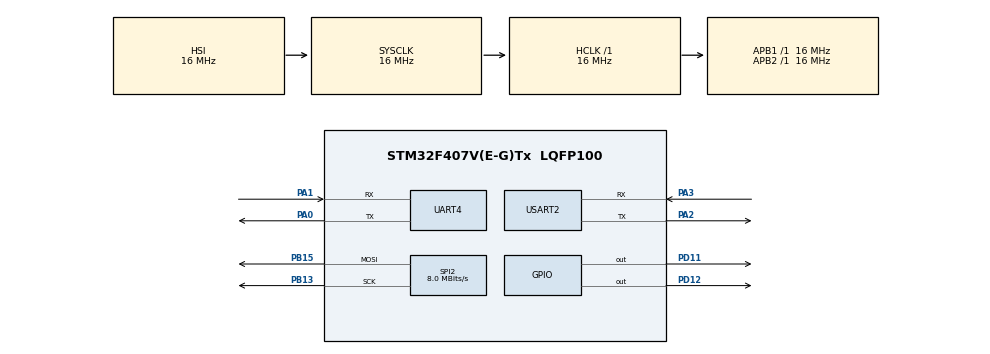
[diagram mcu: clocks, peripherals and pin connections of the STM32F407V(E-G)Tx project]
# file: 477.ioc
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Mcu.Family=STM32F4
Mcu.Name=STM32F407V(E-G)Tx
Mcu.Package=LQFP100
NVIC.PriorityGroup=NVIC_PRIORITYGROUP_4
NVIC.TIM2_IRQn=true\:0\:0\:false\:false\:true\:true
PA0-WKUP.Mode=Asynchronous
PA0-WKUP.Signal=UART4_TX
PA1.Mode=Asynchronous
PA1.Signal=UART4_RX
PA2.Mode=Asynchronous
PA2.Signal=USART2_TX
PA3.Mode=Asynchronous
PA3.Signal=USART2_RX
PB13.Mode=TX_Only_Simplex_Unidirect_Master
PB13.Signal=SPI2_SCK
PB15.Mode=TX_Only_Simplex_Unidirect_Master
PB15.Signal=SPI2_MOSI
PD11.Signal=GPIO_Output
PD12.Signal=GPIO_Output
ProjectManager.HeapSize=0x200
ProjectManager.StackSize=0x400
ProjectManager.TargetToolchain=SW4STM32
RCC.AHBFreq_Value=16000000
RCC.APB1Freq_Value=16000000
RCC.APB2Freq_Value=16000000
RCC.CortexFreq_Value=16000000
RCC.HSE_VALUE=25000000
RCC.HSI_VALUE=16000000
RCC.LSE_VALUE=32768
RCC.SYSCLKFreq_VALUE=16000000
RCC.VCOOutputFreq_Value=192000000
RTC.Date=27
RTC.Format=RTC_FORMAT_BIN
RTC.Hours=12
RTC.Minutes=10
RTC.Month=RTC_MONTH_FEBRUARY
RTC.Seconds=30
RTC.WeekDay=RTC_WEEKDAY_WEDNESDAY
RTC.Year=19
SPI2.CalculateBaudRate=8.0 MBits/s
SPI2.Direction=SPI_DIRECTION_2LINES
SPI2.Mode=SPI_MODE_MASTER
SPI2.VirtualType=VM_MASTER
TIM2.Period=1000
TIM2.Prescaler=16000
TIM2.TIM_MasterOutputTrigger=TIM_TRGO_UPDATE
UART4.VirtualMode=Asynchronous
USART2.VirtualMode=VM_ASYNC
VP_RTC_VS_RTC_Activate.Mode=RTC_Enabled
VP_RTC_VS_RTC_Calendar.Mode=RTC_Calendar
VP_TIM2_VS_ClockSourceINT.Mode=Internal
board=custom

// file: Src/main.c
/* USER CODE BEGIN Header */
/**
  ******************************************************************************
  * @file           : main.c
  * @brief          : Main program body
  ******************************************************************************
  ** This notice applies to any and all portions of this file
  * that are not between comment pairs USER CODE BEGIN and
  * USER CODE END. Other portions of this file, whether
  * inserted by the user or by software development tools
  * are owned by their respective copyright owners.
  *
  * COPYRIGHT(c) 2019 STMicroelectronics
  *
  * Redistribution and use in source and binary forms, with or without modification,
  * are permitted provided that the following conditions are met:
  *   1. Redistributions of source code must retain the above copyright notice,
  *      this list of conditions and the following disclaimer.
  *   2. Redistributions in binary form must reproduce the above copyright notice,
  *      this list of conditions and the following disclaimer in the documentation
  *      and/or other materials provided with the distribution.
  *   3. Neither the name of STMicroelectronics nor the names of its contributors
  *      may be used to endorse or promote products derived from this software
  *      without specific prior written permission.
  *
  * THIS SOFTWARE IS PROVIDED BY THE COPYRIGHT HOLDERS AND CONTRIBUTORS "AS IS"
  * AND ANY EXPRESS OR IMPLIED WARRANTIES, INCLUDING, BUT NOT LIMITED TO, THE
  * IMPLIED WARRANTIES OF MERCHANTABILITY AND FITNESS FOR A PARTICULAR PURPOSE ARE
  * DISCLAIMED. IN NO EVENT SHALL THE COPYRIGHT HOLDER OR CONTRIBUTORS BE LIABLE
  * FOR ANY DIRECT, INDIRECT, INCIDENTAL, SPECIAL, EXEMPLARY, OR CONSEQUENTIAL
  * DAMAGES (INCLUDING, BUT NOT LIMITED TO, PROCUREMENT OF SUBSTITUTE GOODS OR
  * SERVICES; LOSS OF USE, DATA, OR PROFITS; OR BUSINESS INTERRUPTION) HOWEVER
  * CAUSED AND ON ANY THEORY OF LIABILITY, WHETHER IN CONTRACT, STRICT LIABILITY,
  * OR TORT (INCLUDING NEGLIGENCE OR OTHERWISE) ARISING IN ANY WAY OUT OF THE USE
  * OF THIS SOFTWARE, EVEN IF ADVISED OF THE POSSIBILITY OF SUCH DAMAGE.
  *
  ******************************************************************************
  */
/* USER CODE END Header */

#include "main.h"

RTC_HandleTypeDef hrtc;
RTC_TimeTypeDef sTime;
RTC_DateTypeDef sDate;
SPI_HandleTypeDef hspi2;

TIM_HandleTypeDef htim2;
int tim_flag = 1;
UART_HandleTypeDef huart4;
UART_HandleTypeDef huart2;

/* USER CODE BEGIN PV */

char time_time[5] = "time\n";
int minutes_match = 4;//used to check real time
int hours_match = 15;
/* USER CODE END PV */

void SystemClock_Config(void);
static void MX_GPIO_Init(void);
static void MX_RTC_Init(void);
static void MX_UART4_Init(void);
static void MX_USART2_UART_Init(void);
static void MX_SPI2_Init(void);
static void MX_TIM2_Init(void);

int main(void)
{

  /* MCU Configuration--------------------------------------------------------*/

  /* Reset of all peripherals, Initializes the Flash interface and the Systick. */
  HAL_Init();

  /* Configure the system clock */
  SystemClock_Config();

  /* Initialize all configured peripherals */
  MX_GPIO_Init();
  MX_RTC_Init();
  MX_UART4_Init();
  MX_USART2_UART_Init();
  MX_SPI2_Init();
  MX_TIM2_Init();
  /* USER CODE BEGIN 2 */
  sDate.Date = 27;
  sDate.Month = RTC_MONTH_FEBRUARY;
  sDate.WeekDay = RTC_WEEKDAY_WEDNESDAY;
  sDate.Year = 19;
  HAL_RTC_SetDate(&hrtc, &sDate, RTC_FORMAT_BIN);
  char email_request_fill[14];
  email_request_fill[10] = 'f';
  email_request_fill[11] = '1';
  email_request_fill[12] = '2';
  email_request_fill[13] = '3';
  char* email_request_time[10] = {"0t123\n", "1t123\n", "2t123\n", "3t123\n", "4t123\n", "5t123\n", "6t123\n", "7t123\n", "8t123\n", "9t123\n"};
  ///////////////////////////////////////////////////email_boxindex_time_to_take-pill
  //char e0t[6] = "0t123\n", e1t[6] = "1t123\n", e2t[6] = "2t123\n", e3t[6] = "3t123\n", e4t[6] = "4t123\n",
//		  e5t[6] = "5t123\n", e6t[6] = "6t123\n", e7t[6] = "7t123\n", e8t[6] = "8t123\n", e9t[6] = "9t123\n";
  ///////////////////////////////////////////////////email_boxindex_need_update
  char update_request[7] = "update\n";
  char time_to_take_pill[30] = "time to take pill!\n";
  //int update_timer = 1;
  int * pill_num[10];
  int * hour[10];
  int * minute[10];

  //int buzzer = 0;

  /* USER CODE END 2 */

  /* Infinite loop */
  /* USER CODE BEGIN WHILE */
  HAL_TIM_Base_Start_IT(&htim2);
  char rxData[400];
  while (1)
    {
    /* USER CODE END WHILE */

    /* USER CODE BEGIN 3 */
	  /* set time */
	  HAL_UART_Transmit(&huart4, time_time, sizeof(time_time), 1000);
	  memset(rxData, 0, sizeof(rxData));
	  HAL_UART_Receive(&huart4, rxData, sizeof(rxData), 10000);
	  HAL_UART_Transmit(&huart2, rxData, sizeof(rxData), 1000);//mcu->tera
	  set_time(rxData);

	  /* send update request and parse dosage info*/
	  memset(rxData, 0, sizeof(rxData));
	  HAL_UART_Transmit(&huart4, update_request, 7, 1000);
	  HAL_UART_Receive(&huart4, rxData, sizeof(rxData), 12000);
	  HAL_UART_Transmit(&huart2, rxData, sizeof(rxData), 1000);//mcu->tera
	  char dosage_info[400];
	  strncpy(dosage_info, rxData+12, 400);
	  parse(&pill_num, &hour, &minute, dosage_info);

	  /* sensor check */
	  int * sensors = check_sensors();
	  for(int a = 0; a < 10; a++){//check sensor
		  if(sensors[a] == 1){//change to check multiple segments
			  email_request_fill[a] = a + '0';
		  }else{
			  email_request_fill[a] = 'n';
		  }
	  }
	  memset(rxData, 0, sizeof(rxData));
	  HAL_UART_Transmit(&huart4, email_request_fill, 20, 1000);
	  HAL_UART_Receive(&huart4, rxData, sizeof(rxData), 10000);

  	for(int a = 0; a < 10; a++){//loop through segments 0-9
  		for (int b = 0; b < 5; b++)
  		if((minute[a][b] == sTime.Minutes) && (hour[a][b] == sTime.Hours)){
  			HAL_UART_Transmit(&huart2, time_to_take_pill, sizeof(time_to_take_pill), 10000);

  			HAL_UART_Transmit(&huart2, email_request_time[a], 6, 10000);//mcu->esp
  			char tmp_buffer[4];
  			HAL_UART_Transmit(&huart2,tmp_buffer,sprintf(tmp_buffer,"p%d\n",pill_num[a][b]), 10000);
  		}
  	}

  	//memset(rxData, 0, sizeof(rxData));
  	HAL_Delay(5000);
    }
  /* USER CODE END 3 */
}

void SystemClock_Config(void)
{
  RCC_OscInitTypeDef RCC_OscInitStruct = {0};
  RCC_ClkInitTypeDef RCC_ClkInitStruct = {0};
  RCC_PeriphCLKInitTypeDef PeriphClkInitStruct = {0};

  /**Configure the main internal regulator output voltage
  */
  __HAL_RCC_PWR_CLK_ENABLE();
  __HAL_PWR_VOLTAGESCALING_CONFIG(PWR_REGULATOR_VOLTAGE_SCALE1);
  /**Initializes the CPU, AHB and APB busses clocks
  */
  RCC_OscInitStruct.OscillatorType = RCC_OSCILLATORTYPE_HSI|RCC_OSCILLATORTYPE_LSI;
  RCC_OscInitStruct.HSIState = RCC_HSI_ON;
  RCC_OscInitStruct.HSICalibrationValue = RCC_HSICALIBRATION_DEFAULT;
  RCC_OscInitStruct.LSIState = RCC_LSI_ON;
  RCC_OscInitStruct.PLL.PLLState = RCC_PLL_NONE;
  if (HAL_RCC_OscConfig(&RCC_OscInitStruct) != HAL_OK)
  {
    Error_Handler();
  }
  /**Initializes the CPU, AHB and APB busses clocks
  */
  RCC_ClkInitStruct.ClockType = RCC_CLOCKTYPE_HCLK|RCC_CLOCKTYPE_SYSCLK
                              |RCC_CLOCKTYPE_PCLK1|RCC_CLOCKTYPE_PCLK2;
  RCC_ClkInitStruct.SYSCLKSource = RCC_SYSCLKSOURCE_HSI;
  RCC_ClkInitStruct.AHBCLKDivider = RCC_SYSCLK_DIV1;
  RCC_ClkInitStruct.APB1CLKDivider = RCC_HCLK_DIV1;
  RCC_ClkInitStruct.APB2CLKDivider = RCC_HCLK_DIV1;

  if (HAL_RCC_ClockConfig(&RCC_ClkInitStruct, FLASH_LATENCY_0) != HAL_OK)
  {
    Error_Handler();
  }
  PeriphClkInitStruct.PeriphClockSelection = RCC_PERIPHCLK_RTC;
  PeriphClkInitStruct.RTCClockSelection = RCC_RTCCLKSOURCE_LSI;
  if (HAL_RCCEx_PeriphCLKConfig(&PeriphClkInitStruct) != HAL_OK)
  {
    Error_Handler();
  }
}

static void MX_RTC_Init(void)
{

  RTC_TimeTypeDef sTime = {0};
  RTC_DateTypeDef sDate = {0};

  /**Initialize RTC Only
  */
  hrtc.Instance = RTC;
  hrtc.Init.HourFormat = RTC_HOURFORMAT_24;
  hrtc.Init.AsynchPrediv = 127;
  hrtc.Init.SynchPrediv = 255;
  hrtc.Init.OutPut = RTC_OUTPUT_DISABLE;
  hrtc.Init.OutPutPolarity = RTC_OUTPUT_POLARITY_HIGH;
  hrtc.Init.OutPutType = RTC_OUTPUT_TYPE_OPENDRAIN;
  if (HAL_RTC_Init(&hrtc) != HAL_OK)
  {
    Error_Handler();
  }

  /**Initialize RTC and set the Time and Date
  */
  sTime.Hours = 12;
  sTime.Minutes = 10;
  sTime.Seconds = 30;
  sTime.DayLightSaving = RTC_DAYLIGHTSAVING_NONE;
  sTime.StoreOperation = RTC_STOREOPERATION_RESET;
  if (HAL_RTC_SetTime(&hrtc, &sTime, RTC_FORMAT_BIN) != HAL_OK)
  {
    Error_Handler();
  }
  sDate.WeekDay = RTC_WEEKDAY_WEDNESDAY;
  sDate.Month = RTC_MONTH_FEBRUARY;
  sDate.Date = 27;
  sDate.Year = 19;

  if (HAL_RTC_SetDate(&hrtc, &sDate, RTC_FORMAT_BIN) != HAL_OK)
  {
    Error_Handler();
  }

}

static void MX_SPI2_Init(void)
{

  /* SPI2 parameter configuration*/
  hspi2.Instance = SPI2;
  hspi2.Init.Mode = SPI_MODE_MASTER;
  hspi2.Init.Direction = SPI_DIRECTION_2LINES;
  hspi2.Init.DataSize = SPI_DATASIZE_8BIT;
  hspi2.Init.CLKPolarity = SPI_POLARITY_LOW;
  hspi2.Init.CLKPhase = SPI_PHASE_1EDGE;
  hspi2.Init.NSS = SPI_NSS_SOFT;
  hspi2.Init.BaudRatePrescaler = SPI_BAUDRATEPRESCALER_2;
  hspi2.Init.FirstBit = SPI_FIRSTBIT_MSB;
  hspi2.Init.TIMode = SPI_TIMODE_DISABLE;
  hspi2.Init.CRCCalculation = SPI_CRCCALCULATION_DISABLE;
  hspi2.Init.CRCPolynomial = 10;
  if (HAL_SPI_Init(&hspi2) != HAL_OK)
  {
    Error_Handler();
  }

}

static void MX_TIM2_Init(void)
{

  TIM_ClockConfigTypeDef sClockSourceConfig = {0};
  TIM_MasterConfigTypeDef sMasterConfig = {0};

  __TIM2_CLK_ENABLE();
  htim2.Instance = TIM2;
  htim2.Init.Prescaler = 16000;
  htim2.Init.CounterMode = TIM_COUNTERMODE_UP;
  htim2.Init.Period = 1000;
  htim2.Init.ClockDivision = TIM_CLOCKDIVISION_DIV1;
  if (HAL_TIM_Base_Init(&htim2) != HAL_OK)
  {
    Error_Handler();
  }
  sClockSourceConfig.ClockSource = TIM_CLOCKSOURCE_INTERNAL;
  if (HAL_TIM_ConfigClockSource(&htim2, &sClockSourceConfig) != HAL_OK)
  {
    Error_Handler();
  }
  sMasterConfig.MasterOutputTrigger = TIM_TRGO_UPDATE;
  sMasterConfig.MasterSlaveMode = TIM_MASTERSLAVEMODE_DISABLE;
  if (HAL_TIMEx_MasterConfigSynchronization(&htim2, &sMasterConfig) != HAL_OK)
  {
    Error_Handler();
  }
  /* USER CODE BEGIN TIM2_Init 2 */
  //htim2.Init.RepetitionCounter = 0;
  HAL_TIM_Base_Start(&htim2);
  /* USER CODE END TIM2_Init 2 */

}

static void MX_UART4_Init(void)
{

  huart4.Instance = UART4;
  huart4.Init.BaudRate = 115200;
  huart4.Init.WordLength = UART_WORDLENGTH_8B;
  huart4.Init.StopBits = UART_STOPBITS_1;
  huart4.Init.Parity = UART_PARITY_NONE;
  huart4.Init.Mode = UART_MODE_TX_RX;
  huart4.Init.HwFlowCtl = UART_HWCONTROL_NONE;
  huart4.Init.OverSampling = UART_OVERSAMPLING_16;
  if (HAL_UART_Init(&huart4) != HAL_OK)
  {
    Error_Handler();
  }

}

static void MX_USART2_UART_Init(void)
{

  huart2.Instance = USART2;
  huart2.Init.BaudRate = 115200;
  huart2.Init.WordLength = UART_WORDLENGTH_8B;
  huart2.Init.StopBits = UART_STOPBITS_1;
  huart2.Init.Parity = UART_PARITY_NONE;
  huart2.Init.Mode = UART_MODE_TX_RX;
  huart2.Init.HwFlowCtl = UART_HWCONTROL_NONE;
  huart2.Init.OverSampling = UART_OVERSAMPLING_16;
  if (HAL_UART_Init(&huart2) != HAL_OK)
  {
    Error_Handler();
  }

}

static void MX_GPIO_Init(void)
{
  GPIO_InitTypeDef GPIO_InitStruct = {0};

  /* GPIO Ports Clock Enable */
  __GPIOD_CLK_ENABLE();
  __HAL_RCC_GPIOA_CLK_ENABLE();
  __HAL_RCC_GPIOB_CLK_ENABLE();
  __HAL_RCC_GPIOD_CLK_ENABLE();

  /*Configure GPIO pin Output Level */
  HAL_GPIO_WritePin(GPIOD, GPIO_PIN_11|GPIO_PIN_12, GPIO_PIN_RESET);

  /*Configure GPIO pins : PD11 PD12 */
  GPIO_InitStruct.Pin = GPIO_PIN_11|GPIO_PIN_12;
  GPIO_InitStruct.Mode = GPIO_MODE_OUTPUT_PP;
  GPIO_InitStruct.Pull = GPIO_NOPULL;
  GPIO_InitStruct.Speed = GPIO_SPEED_HIGH;
  HAL_GPIO_Init(GPIOD, &GPIO_InitStruct);

}

/* USER CODE BEGIN 4 */
void HAL_TIM_PeriodElapsedCallback(TIM_HandleTypeDef *htim)
{
  UNUSED(htim);
  //HAL_GPIO_TogglePin(GPIOD, GPIO_PIN_12);
  ///////////////////////1    eb    2    4c  3    49    4   2b   5    59     6     18    7			8			9=256
  uint8_t dataOut[30] = {0x00,0x01,0xeb,0x00,0x02,0x4c,0x00,0x04,0x49,0x00,0x08,0x2b,0x00,0x10,0x59,0x00, 0x20, 0x18,0x00, 0x40, 0xcb,0x00, 0x80, 0x08, 0x01, 0x00, 0x0b, 0x02, 0x00, 0x1c}; //code for data output, second byte is for
  uint8_t led_index[10] = {0x01, 0x02, 0x04, 0x08, 0x10, 0x20, 0x40, 0x80, 0x100, 0x200};
  uint8_t truth_table[10] = {0x1c, 0xeb, 0x4c, 0x49, 0x3b, 0x59, 0x18, 0xcb, 0x08, 0x0b};

  if (tim_flag == 1) {
  	HAL_GPIO_WritePin(GPIOD, GPIO_PIN_11, GPIO_PIN_RESET);
  	HAL_SPI_Transmit(&hspi2,dataOut, 1, 100);
  	HAL_SPI_Transmit(&hspi2,dataOut + 1, 1, 100);
  	HAL_SPI_Transmit(&hspi2,dataOut + 2, 1, 100);
  	HAL_GPIO_WritePin(GPIOD, GPIO_PIN_11, GPIO_PIN_SET);
  	tim_flag = 2;
  }
  else if (tim_flag == 2) {

  	HAL_GPIO_WritePin(GPIOD, GPIO_PIN_11, GPIO_PIN_RESET);
  	HAL_SPI_Transmit(&hspi2,dataOut + 3, 1, 100);

  	HAL_SPI_Transmit(&hspi2,dataOut + 4, 1, 100);
  	HAL_SPI_Transmit(&hspi2,dataOut + 5, 1, 100);
  	HAL_GPIO_WritePin(GPIOD, GPIO_PIN_11, GPIO_PIN_SET);
  	tim_flag = 3;
  }
  else if (tim_flag == 3) {
	HAL_GPIO_WritePin(GPIOD, GPIO_PIN_11, GPIO_PIN_RESET);
	HAL_SPI_Transmit(&hspi2,dataOut + 6, 1, 100);
	HAL_SPI_Transmit(&hspi2,dataOut + 7, 1, 100);
	HAL_SPI_Transmit(&hspi2,dataOut + 8, 1, 100);
	HAL_GPIO_WritePin(GPIOD, GPIO_PIN_11, GPIO_PIN_SET);
	tim_flag = 1;
  }
  /*else if (tim_flag == 9) {
	HAL_GPIO_WritePin(GPIOD, GPIO_PIN_11, GPIO_PIN_RESET);
	HAL_SPI_Transmit(&hspi2,dataOut+24, 1, 100);
	HAL_SPI_Transmit(&hspi2,dataOut+25, 1, 100);
	HAL_SPI_Transmit(&hspi2,dataOut+26, 1, 100);
	HAL_GPIO_WritePin(GPIOD, GPIO_PIN_11, GPIO_PIN_SET);
	tim_flag = 1;
  }*/

}

int * check_sensors(){
    int sensor0 = 0, sensor1 = 0, sensor2 = 0, sensor3 = 0, sensor4 = 0, sensor5 = 0, sensor6 = 0, sensor7 = 0, sensor8 = 0, sensor9 = 0;//index for each sensor
	sensor0 = HAL_GPIO_ReadPin(GPIOD, GPIO_PIN_12);
	sensor1 = HAL_GPIO_ReadPin(GPIOD, GPIO_PIN_12);
	sensor2 = HAL_GPIO_ReadPin(GPIOD, GPIO_PIN_12);
	sensor3 = HAL_GPIO_ReadPin(GPIOD, GPIO_PIN_12);
	sensor4 = HAL_GPIO_ReadPin(GPIOD, GPIO_PIN_12);
	sensor5 = HAL_GPIO_ReadPin(GPIOD, GPIO_PIN_12);
	sensor6 = HAL_GPIO_ReadPin(GPIOD, GPIO_PIN_12);
	sensor7 = HAL_GPIO_ReadPin(GPIOD, GPIO_PIN_12);
	sensor8 = HAL_GPIO_ReadPin(GPIOD, GPIO_PIN_12);
	sensor9 = HAL_GPIO_ReadPin(GPIOD, GPIO_PIN_12);
	static int arr[10];
	arr[0] = sensor0; arr[1] = sensor1; arr[2] = sensor2; arr[3] = sensor3; arr[4] = sensor4;
	arr[5] = sensor5; arr[6] = sensor6; arr[7] = sensor7; arr[8] = sensor8; arr[9] = sensor9;
	return arr;
}

void set_time(char* rxData)
{
	char tmph[2]; char tmpm[2]; char tmps[2];
	strncpy(tmph, rxData+12,2);
	int update_hour = atoi(tmph);
	strncpy(tmpm, rxData+14,2);
	int update_minute = atoi(tmpm);
	strncpy(tmps, rxData+16,2);
	int update_second = atoi(tmps);
	char time_test[10] = "mcutime:";
	HAL_UART_Transmit(&huart2, time_test, sizeof(time_test), 100);//hour
	HAL_UART_Transmit(&huart2, tmph, sizeof(tmph), 100);//hour
	HAL_UART_Transmit(&huart2, tmpm, sizeof(tmpm), 100);//minute
	HAL_UART_Transmit(&huart2, tmps, sizeof(tmps), 100);//second
	sTime.Hours = update_hour;
	sTime.Minutes = update_minute;
	sTime.Seconds = update_second;
	HAL_RTC_SetTime(&hrtc, &sTime, RTC_FORMAT_BIN);
	HAL_RTC_GetTime(&hrtc, &sTime, RTC_FORMAT_BIN);
	HAL_RTC_GetDate(&hrtc, &sDate, RTC_FORMAT_BIN);
}

void parse(int ** pill_num, int ** hour, int ** minute, char * dosage_info)
{
    int i = 0, j = 0;
    for(i=0; i < 10; i++) {
        pill_num[i] = (int *)malloc(5 * sizeof(int));
        hour[i] = (int *)malloc(5 * sizeof(int));
        minute[i] = (int *)malloc(5 * sizeof(int));
    }

    //char * info2 = "p0t0830n2t1120n3t2045n2\n";
    //char * info = "p0t0830n2t1120n3t2045n2p1t0920n1t1230n1t2210n5p2t1015n6t2305n6\n";
    int start=0;//cursor c1
    int end=0;//cursor c2
    int seg_id=0;//index of the segment on pill box
    int ind = 0;//index indicates number of times to take pill
    //get dosage_info for each segment
    while (dosage_info[start]!='\n'){
        if(dosage_info[start]=='p') {
            end=start + 1;
            while(dosage_info[end] != '\n'){
                if(dosage_info[end] == 'p'){
                    break;
                }else{
                    end++;
                }
            }
            //printf("%d, %d\n",start,end);
            int length = end - start;
            char* tmpinfo = malloc(sizeof(char) * length);//information for one segment info
            strncpy(tmpinfo, dosage_info+start,end-start);
            //printf("%s\n",tmpinfo);
            int sub_cursor = 3;
            char boxid [1]; strncpy(boxid, tmpinfo+1,1);
            seg_id = atoi(boxid);
            ind=0;
            while(sub_cursor < length){//store dosage_information in stm32
                char* tmp_hour = malloc(sizeof(char)*2);
                char* tmp_min = malloc(sizeof(char)*2);
                char* tmp_num = malloc(sizeof(char)*1);
                strncpy(tmp_hour, tmpinfo + sub_cursor, 2);
                char tmp_buffer[10];

                sub_cursor += 2;
                hour[seg_id][ind] = atoi(tmp_hour);
                strncpy(tmp_min, tmpinfo + sub_cursor, 2);
                sub_cursor += 3;
                minute[seg_id][ind] = atoi(tmp_min);
                strncpy(tmp_num, tmpinfo + sub_cursor, 1);
                sub_cursor += 2;
                pill_num[seg_id][ind] = atoi(tmp_num);
                ind ++;
                free(tmp_hour); free(tmp_min); free(tmp_num);
            }
             while(ind < 5){//generate invalid values
                pill_num[seg_id][ind]=0;
                hour[seg_id][ind]=77;
                minute[seg_id][ind]=77;
                ind ++;
            }
            free(tmpinfo);
            start=end;
        }
        else{start ++;}
    }
    ind = 0;
    seg_id++;
    while(seg_id < 10){
        for(ind = 0; ind < 5; ind ++){
            pill_num[seg_id][ind]=0;
            hour[seg_id][ind]=77;
            minute[seg_id][ind]=77;
        }
        seg_id ++;
    }
}
/* USER CODE END 4 */

void Error_Handler(void)
{
}

/************************ (C) COPYRIGHT STMicroelectronics *****END OF FILE****/
